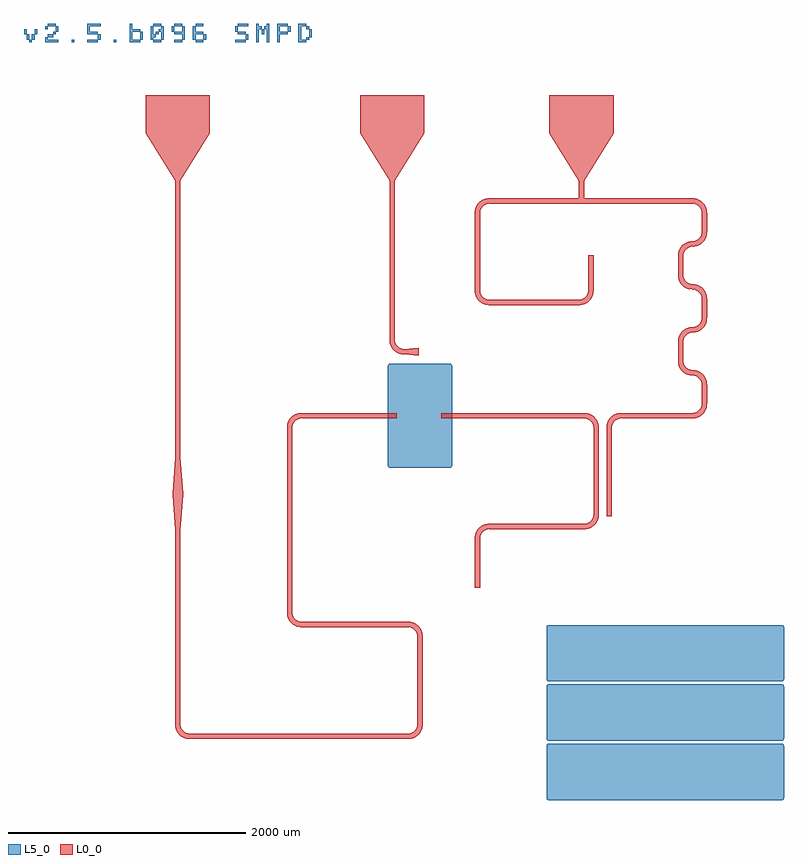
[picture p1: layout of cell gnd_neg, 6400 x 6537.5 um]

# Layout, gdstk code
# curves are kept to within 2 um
import gdstk
lib = gdstk.Library(unit=1e-6, precision=1e-09)
def R(c, l, rs):  # rectangles x0, y0, x1, y1
    for r in rs: c.add(gdstk.rectangle(r[:2], r[2:], *l))
def A(c, l, x, y, w, h, nx, ny, dx, dy):  # array of equal rectangles
    R(c, l, [(x+i*dx, y+j*dy, x+i*dx+w, y+j*dy+h) for i in range(nx) for j in range(ny)])
def P(c, l, *ps):  # polygons
    for p in ps: c.add(gdstk.Polygon(p, *l))
L0_0 = (0, 0)
L5_0 = (5, 0)

gnd_neg = lib.new_cell('gnd_neg')
A(gnd_neg, L0_0, 6107.612, 3600, 44, 161.6, 1, 3, 0, 723.2)
R(gnd_neg, L0_0, [(1795,778,3635,822), (1673,900,1717,2534.902), (3713,900,3757,1641.9), (2736.9,1719.9,3635,1763.9), (2614.9,1841.9,2658.9,3400), (4196.1,2051.239,4240.1,2467), (4318.1,2545,5118.1,2589), (5306.1,2655,5350.1,3400), (5196.1,2667,5240.1,3400), (1651,2834.902,1739,2846.902), (1651,2834.902,1739,2847.902), (1673,3147.902,1717,5308), (2736.9,3478,3539.9,3522), (3915.1,3478,5118.1,3522), (5428.1,3478,6029.612,3522), (5907.612,3961.6,5951.612,4123.2), (3478,4138.8,3522,5480), (4318.1,4432,5073.856,4476), (4196.1,4554,4240.1,5208), (5151.856,4554,5195.856,4841.105), (5907.612,4684.8,5951.612,4846.4), (5151.856,4841.105,5195.856,4853.105), (4318.1,5286,5095,5330), (5095,5286,6029.612,5330), (1673,5308,1717,5480), (5073,5308,5117,5480), (1425,5880,1965,6200), (3230,5880,3770,6200), (4825,5880,5365,6200)])
P(gnd_neg, L0_0, [(3478,5480),(3230,5880),(3770,5880),(3522,5480)],
  [(3600,4016.8),(3578.128,4018.777),(3554.039,4025.788),(3531.894,4037.579),(3514.851,4051.429),(3498.779,4070.694),(3486.988,4092.839),(3479.977,4116.928),(3478,4138.8),(3522,4138.8),(3527.747,4109.415),(3544.14,4084.36),(3568.765,4067.327),(3600,4060.8)],
  [(3724,4004.8),(3600,4016.8),(3600,4060.8),(3724,4072.8)],
  [(2614.9,3400),(2616.877,3421.872),(2623.888,3445.961),(2635.679,3468.106),(2649.529,3485.149),(2668.794,3501.221),(2690.939,3513.012),(2715.028,3520.023),(2736.9,3522),(2736.9,3478),(2707.515,3472.253),(2682.46,3455.86),(2665.427,3431.235),(2658.9,3400)],
  [(2736.9,1719.9),(2715.028,1721.877),(2690.939,1728.888),(2668.794,1740.679),(2651.751,1754.529),(2635.679,1773.794),(2623.888,1795.939),(2616.877,1820.028),(2614.9,1841.9),(2658.9,1841.9),(2664.647,1812.515),(2681.04,1787.46),(2705.665,1770.427),(2736.9,1763.9)],
  [(3713,1641.9),(3707.253,1671.285),(3690.86,1696.34),(3666.235,1713.373),(3635,1719.9),(3635,1763.9),(3666.07,1759.877),(3695.091,1748.075),(3720.149,1729.271),(3737.941,1707.377),(3752.138,1675.997),(3757,1641.9)],
  [(3635,778),(3635,822),(3664.385,827.747),(3689.44,844.14),(3706.473,868.765),(3713,900),(3757,900),(3755.023,878.128),(3748.012,854.039),(3736.221,831.894),(3722.371,814.851),(3703.106,798.779),(3680.961,786.988),(3656.872,779.977)],
  [(1795,778),(1773.128,779.977),(1749.039,786.988),(1726.894,798.779),(1709.851,812.629),(1693.779,831.894),(1681.988,854.039),(1674.977,878.128),(1673,900),(1717,900),(1722.747,870.615),(1739.14,845.56),(1763.765,828.527),(1795,822)],
  [(1673,2534.902),(1651,2834.902),(1739,2834.902),(1717,2534.902)],
  [(1673,5480),(1425,5880),(1965,5880),(1717,5480)],
  [(1651,2847.902),(1673,3147.902),(1717,3147.902),(1739,2847.902)],
  [(5196.1,3400),(5190.353,3429.385),(5173.96,3454.44),(5149.335,3471.473),(5118.1,3478),(5118.1,3522),(5149.17,3517.977),(5178.191,3506.175),(5203.249,3487.371),(5221.041,3465.477),(5235.238,3434.097),(5240.1,3400)],
  [(5118.1,2545),(5118.1,2589),(5147.485,2594.747),(5172.54,2611.14),(5189.573,2635.765),(5196.1,2667),(5240.1,2667),(5238.123,2645.128),(5231.112,2621.039),(5219.321,2598.894),(5205.471,2581.851),(5186.206,2565.779),(5164.061,2553.988),(5139.972,2546.977)],
  [(4196.1,2467),(4198.077,2488.872),(4205.088,2512.961),(4216.879,2535.106),(4230.729,2552.149),(4249.994,2568.221),(4272.139,2580.012),(4296.228,2587.023),(4318.1,2589),(4318.1,2545),(4288.715,2539.253),(4263.66,2522.86),(4246.627,2498.235),(4240.1,2467)],
  [(5073,5480),(4825,5880),(5365,5880),(5117,5480)],
  [(5306.1,3400),(5308.077,3421.872),(5315.088,3445.961),(5326.879,3468.106),(5340.729,3485.149),(5359.994,3501.221),(5382.139,3513.012),(5406.228,3520.023),(5428.1,3522),(5428.1,3478),(5398.715,3472.253),(5373.66,3455.86),(5356.627,3431.235),(5350.1,3400)],
  [(6029.612,3478),(6029.612,3522),(6058.997,3527.747),(6084.052,3544.14),(6101.085,3568.765),(6107.612,3600),(6151.612,3600),(6149.635,3578.128),(6142.624,3554.039),(6130.833,3531.894),(6116.983,3514.851),(6097.718,3498.779),(6075.573,3486.988),(6051.484,3479.977)],
  [(6107.612,3761.6),(6101.865,3790.985),(6085.472,3816.04),(6060.847,3833.073),(6029.612,3839.6),(6029.612,3883.6),(6060.682,3879.577),(6089.703,3867.775),(6114.761,3848.971),(6132.553,3827.077),(6146.75,3795.697),(6151.612,3761.6)],
  [(6029.612,3839.6),(6007.74,3841.577),(5983.651,3848.588),(5961.506,3860.379),(5944.463,3874.229),(5928.391,3893.494),(5916.6,3915.639),(5909.589,3939.728),(5907.612,3961.6),(5951.612,3961.6),(5957.359,3932.215),(5973.752,3907.16),(5998.377,3890.127),(6029.612,3883.6)],
  [(5907.612,4123.2),(5909.589,4145.072),(5916.6,4169.161),(5928.391,4191.306),(5942.241,4208.349),(5961.506,4224.421),(5983.651,4236.212),(6007.74,4243.223),(6029.612,4245.2),(6029.612,4201.2),(6000.227,4195.453),(5975.172,4179.06),(5958.139,4154.435),(5951.612,4123.2)],
  [(6029.612,4201.2),(6029.612,4245.2),(6058.997,4250.947),(6084.052,4267.34),(6101.085,4291.965),(6107.612,4323.2),(6151.612,4323.2),(6149.635,4301.328),(6142.624,4277.239),(6130.833,4255.094),(6116.983,4238.051),(6097.718,4221.979),(6075.573,4210.188),(6051.484,4203.177)],
  [(6107.612,4484.8),(6101.865,4514.185),(6085.472,4539.24),(6060.847,4556.273),(6029.612,4562.8),(6029.612,4606.8),(6060.682,4602.777),(6089.703,4590.975),(6114.761,4572.171),(6132.553,4550.277),(6146.75,4518.897),(6151.612,4484.8)],
  [(6029.612,4562.8),(6007.74,4564.777),(5983.651,4571.788),(5961.506,4583.579),(5944.463,4597.429),(5928.391,4616.694),(5916.6,4638.839),(5909.589,4662.928),(5907.612,4684.8),(5951.612,4684.8),(5957.359,4655.415),(5973.752,4630.36),(5998.377,4613.327),(6029.612,4606.8)],
  [(5907.612,4846.4),(5909.589,4868.272),(5916.6,4892.361),(5928.391,4914.506),(5942.241,4931.549),(5961.506,4947.621),(5983.651,4959.412),(6007.74,4966.423),(6029.612,4968.4),(6029.612,4924.4),(6000.227,4918.653),(5975.172,4902.26),(5958.139,4877.635),(5951.612,4846.4)],
  [(6029.612,4924.4),(6029.612,4968.4),(6058.997,4974.147),(6084.052,4990.54),(6101.085,5015.165),(6107.612,5046.4),(6151.612,5046.4),(6149.635,5024.528),(6142.624,5000.439),(6130.833,4978.294),(6116.983,4961.251),(6097.718,4945.179),(6075.573,4933.388),(6051.484,4926.377)],
  [(6107.612,5208),(6101.865,5237.385),(6085.472,5262.44),(6060.847,5279.473),(6029.612,5286),(6029.612,5330),(6060.682,5325.977),(6089.703,5314.175),(6114.761,5295.371),(6132.553,5273.477),(6146.75,5242.097),(6151.612,5208)],
  [(4196.1,5208),(4198.077,5229.872),(4205.088,5253.961),(4216.879,5276.106),(4230.729,5293.149),(4249.994,5309.221),(4272.139,5321.012),(4296.228,5328.023),(4318.1,5330),(4318.1,5286),(4288.715,5280.253),(4263.66,5263.86),(4246.627,5239.235),(4240.1,5208)],
  [(4318.1,4432),(4296.228,4433.977),(4272.139,4440.988),(4249.994,4452.779),(4232.951,4466.629),(4216.879,4485.894),(4205.088,4508.039),(4198.077,4532.128),(4196.1,4554),(4240.1,4554),(4245.847,4524.615),(4262.24,4499.56),(4286.865,4482.527),(4318.1,4476)],
  [(5073.856,4432),(5073.856,4476),(5103.241,4481.747),(5128.296,4498.14),(5145.329,4522.765),(5151.856,4554),(5195.856,4554),(5193.879,4532.128),(5186.868,4508.039),(5175.077,4485.894),(5161.227,4468.851),(5141.962,4452.779),(5119.817,4440.988),(5095.728,4433.977)])
R(gnd_neg, L5_0, [(444.444,6644.444,466.667,6666.667), (800,6644.444,822.222,6666.667), (1155.556,6644.444,1177.778,6666.667), (2777.778,6666.667,2800,6688.889), (644.444,6711.111,666.667,6733.333), (1511.111,6711.111,1533.333,6733.333), (577.778,6755.556,600,6777.778), (2777.778,6755.556,2800,6777.778)])
P(gnd_neg, L5_0, [(3485,3062.5),(3471.221,3068.004),(3465,3082.5),(3465,3917.5),(3467.513,3927.206),(3475.294,3934.987),(3485,3937.5),(3985,3937.5),(3994.706,3934.987),(4002.487,3927.206),(4005,3917.5),(4005,3082.5),(4002.487,3072.794),(3994.706,3065.013),(3985,3062.5)],
  [(4820,262.5),(4806.221,268.004),(4800,282.5),(4800.026,718.513),(4804.184,729.742),(4814.987,736.862),(6780,737.5),(6792.242,733.316),(6799.362,722.513),(6799.974,281.487),(6795.816,270.258),(6785.013,263.138)],
  [(4820,762.5),(4806.221,768.004),(4800,782.5),(4800.026,1218.513),(4804.184,1229.742),(4814.987,1236.862),(6780,1237.5),(6792.242,1233.316),(6799.362,1222.513),(6799.974,781.487),(6795.816,770.258),(6785.013,763.138)],
  [(4820,1262.5),(4806.221,1268.004),(4800,1282.5),(4800.026,1718.513),(4804.184,1729.742),(4814.987,1736.862),(6780,1737.5),(6792.242,1733.316),(6799.362,1722.513),(6799.974,1281.487),(6795.816,1270.258),(6785.013,1263.138)],
  [(400,6711.111),(400,6733.333),(400,6755.556),(422.222,6755.556),(422.222,6733.333),(422.222,6711.111)],
  [(422.222,6666.667),(422.222,6688.889),(422.222,6711.111),(444.444,6711.111),(444.444,6688.889),(444.444,6666.667)],
  [(466.667,6666.667),(466.667,6688.889),(466.667,6711.111),(488.889,6711.111),(488.889,6688.889),(488.889,6666.667)],
  [(488.889,6711.111),(488.889,6733.333),(488.889,6755.556),(511.111,6755.556),(511.111,6733.333),(511.111,6711.111)],
  [(577.778,6644.444),(577.778,6666.667),(577.778,6688.889),(600,6688.889),(600,6666.667),(622.222,6666.667),(644.444,6666.667),(666.667,6666.667),(688.889,6666.667),(688.889,6644.444),(666.667,6644.444),(644.444,6644.444),(622.222,6644.444),(600,6644.444)],
  [(600,6688.889),(600,6711.111),(622.222,6711.111),(644.444,6711.111),(644.444,6688.889),(622.222,6688.889)],
  [(600,6777.778),(600,6800),(622.222,6800),(644.444,6800),(666.667,6800),(666.667,6777.778),(644.444,6777.778),(622.222,6777.778)],
  [(666.667,6733.333),(666.667,6755.556),(666.667,6777.778),(688.889,6777.778),(688.889,6755.556),(688.889,6733.333)],
  [(933.333,6644.444),(933.333,6666.667),(955.556,6666.667),(977.778,6666.667),(1000,6666.667),(1022.222,6666.667),(1022.222,6644.444),(1000,6644.444),(977.778,6644.444),(955.556,6644.444)],
  [(933.333,6711.111),(933.333,6733.333),(933.333,6755.556),(933.333,6777.778),(933.333,6800),(955.556,6800),(977.778,6800),(1000,6800),(1022.222,6800),(1044.444,6800),(1044.444,6777.778),(1022.222,6777.778),(1000,6777.778),(977.778,6777.778),(955.556,6777.778),(955.556,6755.556),(955.556,6733.333),(977.778,6733.333),(1000,6733.333),(1022.222,6733.333),(1022.222,6711.111),(1000,6711.111),(977.778,6711.111),(955.556,6711.111)],
  [(1022.222,6666.667),(1022.222,6688.889),(1022.222,6711.111),(1044.444,6711.111),(1044.444,6688.889),(1044.444,6666.667)],
  [(1288.889,6644.444),(1288.889,6666.667),(1288.889,6688.889),(1288.889,6711.111),(1288.889,6733.333),(1288.889,6755.556),(1288.889,6777.778),(1288.889,6800),(1311.111,6800),(1311.111,6777.778),(1311.111,6755.556),(1333.333,6755.556),(1355.556,6755.556),(1377.778,6755.556),(1377.778,6733.333),(1355.556,6733.333),(1333.333,6733.333),(1311.111,6733.333),(1311.111,6711.111),(1311.111,6688.889),(1311.111,6666.667),(1333.333,6666.667),(1355.556,6666.667),(1377.778,6666.667),(1377.778,6644.444),(1355.556,6644.444),(1333.333,6644.444),(1311.111,6644.444)],
  [(1377.778,6666.667),(1377.778,6688.889),(1377.778,6711.111),(1377.778,6733.333),(1400,6733.333),(1400,6711.111),(1400,6688.889),(1400,6666.667)],
  [(1466.667,6666.667),(1466.667,6688.889),(1466.667,6711.111),(1466.667,6733.333),(1466.667,6755.556),(1466.667,6777.778),(1488.889,6777.778),(1488.889,6755.556),(1488.889,6733.333),(1488.889,6711.111),(1511.111,6711.111),(1511.111,6688.889),(1488.889,6688.889),(1488.889,6666.667)],
  [(1488.889,6644.444),(1488.889,6666.667),(1511.111,6666.667),(1533.333,6666.667),(1555.556,6666.667),(1555.556,6644.444),(1533.333,6644.444),(1511.111,6644.444)],
  [(1488.889,6777.778),(1488.889,6800),(1511.111,6800),(1533.333,6800),(1555.556,6800),(1555.556,6777.778),(1533.333,6777.778),(1511.111,6777.778)],
  [(1555.556,6666.667),(1555.556,6688.889),(1555.556,6711.111),(1555.556,6733.333),(1533.333,6733.333),(1533.333,6755.556),(1555.556,6755.556),(1555.556,6777.778),(1577.778,6777.778),(1577.778,6755.556),(1577.778,6733.333),(1577.778,6711.111),(1577.778,6688.889),(1577.778,6666.667)],
  [(1644.444,6733.333),(1644.444,6755.556),(1644.444,6777.778),(1666.667,6777.778),(1666.667,6755.556),(1666.667,6733.333)],
  [(1666.667,6644.444),(1666.667,6666.667),(1688.889,6666.667),(1711.111,6666.667),(1733.333,6666.667),(1733.333,6644.444),(1711.111,6644.444),(1688.889,6644.444)],
  [(1733.333,6666.667),(1733.333,6688.889),(1733.333,6711.111),(1711.111,6711.111),(1688.889,6711.111),(1666.667,6711.111),(1666.667,6733.333),(1688.889,6733.333),(1711.111,6733.333),(1733.333,6733.333),(1733.333,6755.556),(1733.333,6777.778),(1755.556,6777.778),(1755.556,6755.556),(1755.556,6733.333),(1755.556,6711.111),(1755.556,6688.889),(1755.556,6666.667)],
  [(1666.667,6777.778),(1666.667,6800),(1688.889,6800),(1711.111,6800),(1733.333,6800),(1733.333,6777.778),(1711.111,6777.778),(1688.889,6777.778)],
  [(1822.222,6666.667),(1822.222,6688.889),(1822.222,6711.111),(1822.222,6733.333),(1822.222,6755.556),(1822.222,6777.778),(1844.444,6777.778),(1844.444,6755.556),(1844.444,6733.333),(1866.667,6733.333),(1888.889,6733.333),(1911.111,6733.333),(1911.111,6711.111),(1888.889,6711.111),(1866.667,6711.111),(1844.444,6711.111),(1844.444,6688.889),(1844.444,6666.667)],
  [(1844.444,6644.444),(1844.444,6666.667),(1866.667,6666.667),(1888.889,6666.667),(1911.111,6666.667),(1911.111,6644.444),(1888.889,6644.444),(1866.667,6644.444)],
  [(1844.444,6777.778),(1844.444,6800),(1866.667,6800),(1888.889,6800),(1911.111,6800),(1911.111,6777.778),(1888.889,6777.778),(1866.667,6777.778)],
  [(1911.111,6666.667),(1911.111,6688.889),(1911.111,6711.111),(1933.333,6711.111),(1933.333,6688.889),(1933.333,6666.667)],
  [(2177.778,6644.444),(2177.778,6666.667),(2200,6666.667),(2222.222,6666.667),(2244.444,6666.667),(2266.667,6666.667),(2266.667,6644.444),(2244.444,6644.444),(2222.222,6644.444),(2200,6644.444)],
  [(2177.778,6733.333),(2177.778,6755.556),(2177.778,6777.778),(2200,6777.778),(2200,6755.556),(2200,6733.333)],
  [(2200,6711.111),(2200,6733.333),(2222.222,6733.333),(2244.444,6733.333),(2266.667,6733.333),(2266.667,6711.111),(2244.444,6711.111),(2222.222,6711.111)],
  [(2200,6777.778),(2200,6800),(2222.222,6800),(2244.444,6800),(2266.667,6800),(2288.889,6800),(2288.889,6777.778),(2266.667,6777.778),(2244.444,6777.778),(2222.222,6777.778)],
  [(2266.667,6666.667),(2266.667,6688.889),(2266.667,6711.111),(2288.889,6711.111),(2288.889,6688.889),(2288.889,6666.667)],
  [(2355.556,6644.444),(2355.556,6666.667),(2355.556,6688.889),(2355.556,6711.111),(2355.556,6733.333),(2355.556,6755.556),(2355.556,6777.778),(2355.556,6800),(2377.778,6800),(2377.778,6777.778),(2400,6777.778),(2400,6755.556),(2377.778,6755.556),(2377.778,6733.333),(2377.778,6711.111),(2377.778,6688.889),(2377.778,6666.667),(2377.778,6644.444)],
  [(2400,6711.111),(2400,6733.333),(2400,6755.556),(2422.222,6755.556),(2422.222,6733.333),(2422.222,6711.111)],
  [(2444.444,6644.444),(2444.444,6666.667),(2444.444,6688.889),(2444.444,6711.111),(2444.444,6733.333),(2444.444,6755.556),(2422.222,6755.556),(2422.222,6777.778),(2444.444,6777.778),(2444.444,6800),(2466.667,6800),(2466.667,6777.778),(2466.667,6755.556),(2466.667,6733.333),(2466.667,6711.111),(2466.667,6688.889),(2466.667,6666.667),(2466.667,6644.444)],
  [(2533.333,6644.444),(2533.333,6666.667),(2533.333,6688.889),(2533.333,6711.111),(2533.333,6733.333),(2533.333,6755.556),(2533.333,6777.778),(2533.333,6800),(2555.556,6800),(2577.778,6800),(2600,6800),(2622.222,6800),(2622.222,6777.778),(2600,6777.778),(2577.778,6777.778),(2555.556,6777.778),(2555.556,6755.556),(2555.556,6733.333),(2577.778,6733.333),(2600,6733.333),(2622.222,6733.333),(2622.222,6711.111),(2600,6711.111),(2577.778,6711.111),(2555.556,6711.111),(2555.556,6688.889),(2555.556,6666.667),(2555.556,6644.444)],
  [(2622.222,6733.333),(2622.222,6755.556),(2622.222,6777.778),(2644.444,6777.778),(2644.444,6755.556),(2644.444,6733.333)],
  [(2711.111,6644.444),(2711.111,6666.667),(2711.111,6688.889),(2711.111,6711.111),(2711.111,6733.333),(2711.111,6755.556),(2711.111,6777.778),(2711.111,6800),(2733.333,6800),(2755.556,6800),(2777.778,6800),(2777.778,6777.778),(2755.556,6777.778),(2733.333,6777.778),(2733.333,6755.556),(2733.333,6733.333),(2733.333,6711.111),(2733.333,6688.889),(2733.333,6666.667),(2755.556,6666.667),(2777.778,6666.667),(2777.778,6644.444),(2755.556,6644.444),(2733.333,6644.444)],
  [(2800,6688.889),(2800,6711.111),(2800,6733.333),(2800,6755.556),(2822.222,6755.556),(2822.222,6733.333),(2822.222,6711.111),(2822.222,6688.889)])

lib.write_gds('gnd_neg.gds')
